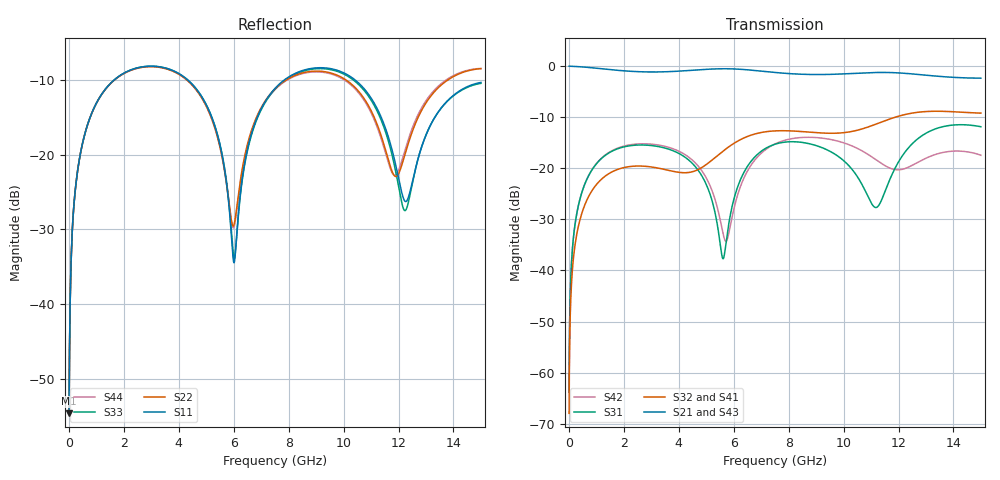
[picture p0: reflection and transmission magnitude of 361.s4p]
! Created with skrf 1.8.0 (http://scikit-rf.org).
# GHz S RI R 50.0
!freq ReS11 ImS11 ReS12 ImS12 ReS13 ImS13
! ReS14 ImS14
! ReS21 ImS21 ReS22 ImS22 ReS23 ImS23
! ReS24 ImS24
! ReS31 ImS31 ReS32 ImS32 ReS33 ImS33
! ReS34 ImS34
! ReS41 ImS41 ReS42 ImS42 ReS43 ImS43
! ReS44 ImS44
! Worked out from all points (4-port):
!   2499 points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, 5 MHz to 15 GHz, reference 50 ohm
!   strongest paths, dB at 5 MHz, 3.476 GHz, 7.19 GHz, 11.1 GHz, 15 GHz:
!     S21: 0.0, -1.1, -1.1, -1.3, -2.4
!     S43: 0.0, -1.1, -1.1, -1.2, -2.4
!     S32: -68.0, -20.2, -12.8, -11.5, -9.2
!     S41: -68.0, -20.3, -12.8, -11.5, -9.3
!     S31: -63.8, -16.0, -16.0, -27.5, -11.9
!     S42: -63.8, -15.7, -16.2, -18.0, -17.4
!   lowest |S11| = -54.6 dB at 5 MHz (marker M1), VSWR 1.00, Z = 50.1 + j0.113 ohm
!   |S11| at or under -10 dB: start of sweep to 1.661 GHz; 4.308 GHz to 7.859 GHz (3.551 GHz wide, 58.4 % of centre); 10.4 GHz to end of sweep
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0.005  0.00149 0.00113  0.9985 -0.00291  7.62e-05 0.00064  -7.38e-05 -0.000393
       0.9985 -0.00291  0.00149 0.00113  -7.38e-05 -0.000394  7.63e-05 0.00064
       7.62e-05 0.00064  -7.38e-05 -0.000394  0.00149 0.00113  0.9985 -0.00291
       -7.38e-05 -0.000393  7.63e-05 0.00064  0.9985 -0.00291  0.00149 0.00113
0.3626511  0.0258 0.0854  0.9644 -0.209  0.0127 0.0439  -0.0107 -0.0265
           0.9644 -0.209  0.0257 0.0854  -0.0107 -0.0265  0.0133 0.0437
           0.0127 0.0439  -0.0107 -0.0265  0.0258 0.0854  0.9644 -0.209
           -0.0107 -0.0265  0.0133 0.0437  0.9644 -0.209  0.0257 0.0854
1.619545  0.2539 0.1804  0.5826 -0.7084  0.1283 0.0764  -0.093 -0.0117
          0.5826 -0.7084  0.2516 0.1817  -0.093 -0.0117  0.1351 0.068
          0.1283 0.0764  -0.093 -0.0117  0.2538 0.1804  0.5826 -0.7084
          -0.093 -0.0117  0.1351 0.068  0.5826 -0.7084  0.2517 0.1817
6.008754  0.0189 -0.000987  -0.9355 -0.067  0.0199 0.0462  -0.00859 0.1754
          -0.9355 -0.067  0.0335 0.0054  -0.00664 0.1754  -0.00777 0.0397
          0.0199 0.0462  -0.00664 0.1754  0.02 -0.00287  -0.9355 -0.0678
          -0.00859 0.1754  -0.00777 0.0397  -0.9355 -0.0678  0.0325 0.00357
9.397666  0.3737 -0.053  0.0248 0.8283  0.1438 -0.048  0.2081 -0.07
          0.0248 0.8283  0.3523 -0.0422  0.2078 -0.0735  0.138 -0.1367
          0.1438 -0.048  0.2078 -0.0735  0.3678 -0.0551  0.0255 0.8303
          0.2081 -0.07  0.138 -0.1367  0.0255 0.8303  0.3479 -0.0404
12.23635  0.0476 -0.0106  0.8481 0.054  0.1035 0.1001  0.0138 -0.3344
          0.8481 0.054  0.0823 0.0572  0.00722 -0.3358  -0.0666 0.0739
          0.1035 0.1001  0.00722 -0.3358  0.0419 -0.00477  0.8481 0.0508
          0.0138 -0.3344  -0.0666 0.0739  0.8481 0.0508  0.0855 0.0647
15  0.2994 0.0437  0.2132 -0.7315  0.1944 -0.1653  -0.3423 -0.0389
    0.2132 -0.7315  0.374 0.00801  -0.3455 -0.0287  0.1296 -0.0348
    0.1944 -0.1653  -0.3455 -0.0287  0.2943 0.0496  0.2122 -0.7321
    -0.3423 -0.0389  0.1296 -0.0348  0.2122 -0.7321  0.3755 0.0037
